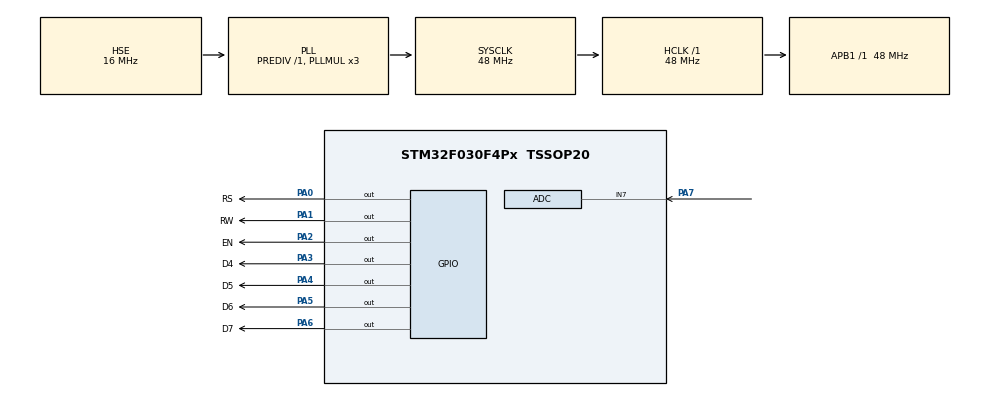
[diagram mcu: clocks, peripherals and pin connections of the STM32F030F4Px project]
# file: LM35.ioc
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ADC.Resolution=ADC_RESOLUTION_10B
ADC.SamplingTime=ADC_SAMPLETIME_55CYCLES_5
Mcu.Family=STM32F0
Mcu.Name=STM32F030F4Px
Mcu.Package=TSSOP20
PA0.GPIO_Label=RS
PA0.Signal=GPIO_Output
PA1.GPIO_Label=RW
PA1.Signal=GPIO_Output
PA2.GPIO_Label=EN
PA2.Signal=GPIO_Output
PA3.GPIO_Label=D4
PA3.Signal=GPIO_Output
PA4.GPIO_Label=D5
PA4.Signal=GPIO_Output
PA5.GPIO_Label=D6
PA5.Signal=GPIO_Output
PA6.GPIO_Label=D7
PA6.Signal=GPIO_Output
PA7.Mode=IN7
PA7.Signal=ADC_IN7
PF0-OSC_IN.Mode=HSE-External-Oscillator
PF0-OSC_IN.Signal=RCC_OSC_IN
PF1-OSC_OUT.Mode=HSE-External-Oscillator
PF1-OSC_OUT.Signal=RCC_OSC_OUT
ProjectManager.HeapSize=0x200
ProjectManager.StackSize=0x400
ProjectManager.TargetToolchain=STM32CubeIDE
RCC.AHBFreq_Value=48000000
RCC.APB1Freq_Value=48000000
RCC.APB1TimFreq_Value=48000000
RCC.HCLKFreq_Value=48000000
RCC.HSE_VALUE=16000000
RCC.PLLMUL=RCC_PLL_MUL3
RCC.PLLSourceVirtual=RCC_PLLSOURCE_HSE
RCC.SYSCLKFreq_VALUE=48000000
RCC.SYSCLKSource=RCC_SYSCLKSOURCE_PLLCLK
TIM1.Period=0xffff-1
TIM1.Prescaler=48-1
VP_TIM1_VS_ClockSourceINT.Mode=Internal
board=custom

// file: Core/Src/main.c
/* USER CODE BEGIN Header */
/**
  ******************************************************************************
  * @file           : main.c
  * @brief          : Main program body
  ******************************************************************************
  * @attention
  *
  * Copyright (c) 2024 STMicroelectronics.
  * All rights reserved.
  *
  * This software is licensed under terms that can be found in the LICENSE file
  * in the root directory of this software component.
  * If no LICENSE file comes with this software, it is provided AS-IS.
  *
  ******************************************************************************
  */
/* USER CODE END Header */
#include "main.h"

/* USER CODE BEGIN Includes */
#include "LCD1602.h"
/* USER CODE END Includes */

ADC_HandleTypeDef hadc;

TIM_HandleTypeDef htim1;

void SystemClock_Config(void);
static void MX_GPIO_Init(void);
static void MX_ADC_Init(void);
static void MX_TIM1_Init(void);

/* USER CODE BEGIN 0 */

int32_t LM35_tmp(uint32_t ADCvalue){

	int16_t voltage  = ( ADCvalue * 33000) / 1023;

	int16_t Temp = voltage / 1;

    return Temp;
}

void Print(int32_t intd) {
  char buff[8]; // Allocate space for sign (if needed) and null terminator

  // Check for negative value and add a minus sign if necessary
  if (intd < 0) {
    buff[0] = '-';
    intd *= -1;    // Convert to positive for further processing
  } else {
    buff[0] = ' '; // Add a space for positive values to maintain alignment
  }

  buff[1] = (intd / 10000) % 10 + 48; // Thousands digit
  buff[1] = (buff[1] == '0')? ' ':buff[1]; // Replace with space to hide front zero
  buff[2] = (intd / 1000) % 10 + 48; // Hundreds digit
  buff[3] = (intd / 100) % 10 + 48; // Tens digit
  buff[4] = '.';                   // Decimal point
  buff[5] = (intd / 10) % 10 + 48; // Units digit before decimal
  buff[6] = intd % 10 + 48;       // Units digit after decimal
  buff[7] = 0; // Null terminator

  LCD_String(buff); // Send the formatted string to your LCD display function

  LCD_String(" ");
}

int32_t temp;
int32_t adcvalue;
//float ftemp;
/* USER CODE END 0 */

int main(void)
{

  /* MCU Configuration--------------------------------------------------------*/

  /* Reset of all peripherals, Initializes the Flash interface and the Systick. */
  HAL_Init();

  /* Configure the system clock */
  SystemClock_Config();

  /* Initialize all configured peripherals */
  MX_GPIO_Init();
  MX_ADC_Init();
  MX_TIM1_Init();
  /* USER CODE BEGIN 2 */
  HAL_TIM_Base_Start(&htim1);  // Timer On and init this line
  lcd_init();                //LCD init

  lcd_xy(0, 4);   // set curser postion

  LCD_String("MCU Temp");  // Print String

  /* USER CODE END 2 */

  /* Infinite loop */
  while (1)
  {

    /* USER CODE BEGIN 3 */

		HAL_ADC_Start(&hadc);
	    HAL_ADC_PollForConversion(&hadc,200);
	    adcvalue = HAL_ADC_GetValue(&hadc);

	    temp =  LM35_tmp (adcvalue);
		lcd_xy(1, 4);
		Print(temp);

		lcd_xy(1, 11);
		LCD_String("\337C");  // for degree celcus
		HAL_Delay(500);
  }
  /* USER CODE END 3 */
}

void SystemClock_Config(void)
{
  RCC_OscInitTypeDef RCC_OscInitStruct = {0};
  RCC_ClkInitTypeDef RCC_ClkInitStruct = {0};

  /** Initializes the RCC Oscillators according to the specified parameters
  * in the RCC_OscInitTypeDef structure.
  */
  RCC_OscInitStruct.OscillatorType = RCC_OSCILLATORTYPE_HSI14|RCC_OSCILLATORTYPE_HSE;
  RCC_OscInitStruct.HSEState = RCC_HSE_ON;
  RCC_OscInitStruct.HSI14State = RCC_HSI14_ON;
  RCC_OscInitStruct.HSI14CalibrationValue = 16;
  RCC_OscInitStruct.PLL.PLLState = RCC_PLL_ON;
  RCC_OscInitStruct.PLL.PLLSource = RCC_PLLSOURCE_HSE;
  RCC_OscInitStruct.PLL.PLLMUL = RCC_PLL_MUL3;
  RCC_OscInitStruct.PLL.PREDIV = RCC_PREDIV_DIV1;
  if (HAL_RCC_OscConfig(&RCC_OscInitStruct) != HAL_OK)
  {
    Error_Handler();
  }

  /** Initializes the CPU, AHB and APB buses clocks
  */
  RCC_ClkInitStruct.ClockType = RCC_CLOCKTYPE_HCLK|RCC_CLOCKTYPE_SYSCLK
                              |RCC_CLOCKTYPE_PCLK1;
  RCC_ClkInitStruct.SYSCLKSource = RCC_SYSCLKSOURCE_PLLCLK;
  RCC_ClkInitStruct.AHBCLKDivider = RCC_SYSCLK_DIV1;
  RCC_ClkInitStruct.APB1CLKDivider = RCC_HCLK_DIV1;

  if (HAL_RCC_ClockConfig(&RCC_ClkInitStruct, FLASH_LATENCY_1) != HAL_OK)
  {
    Error_Handler();
  }
}

static void MX_ADC_Init(void)
{

  ADC_ChannelConfTypeDef sConfig = {0};

  /** Configure the global features of the ADC (Clock, Resolution, Data Alignment and number of conversion)
  */
  hadc.Instance = ADC1;
  hadc.Init.ClockPrescaler = ADC_CLOCK_ASYNC_DIV1;
  hadc.Init.Resolution = ADC_RESOLUTION_10B;
  hadc.Init.DataAlign = ADC_DATAALIGN_RIGHT;
  hadc.Init.ScanConvMode = ADC_SCAN_DIRECTION_FORWARD;
  hadc.Init.EOCSelection = ADC_EOC_SINGLE_CONV;
  hadc.Init.LowPowerAutoWait = DISABLE;
  hadc.Init.LowPowerAutoPowerOff = DISABLE;
  hadc.Init.ContinuousConvMode = DISABLE;
  hadc.Init.DiscontinuousConvMode = DISABLE;
  hadc.Init.ExternalTrigConv = ADC_SOFTWARE_START;
  hadc.Init.ExternalTrigConvEdge = ADC_EXTERNALTRIGCONVEDGE_NONE;
  hadc.Init.DMAContinuousRequests = DISABLE;
  hadc.Init.Overrun = ADC_OVR_DATA_PRESERVED;
  if (HAL_ADC_Init(&hadc) != HAL_OK)
  {
    Error_Handler();
  }

  /** Configure for the selected ADC regular channel to be converted.
  */
  sConfig.Channel = ADC_CHANNEL_7;
  sConfig.Rank = ADC_RANK_CHANNEL_NUMBER;
  sConfig.SamplingTime = ADC_SAMPLETIME_55CYCLES_5;
  if (HAL_ADC_ConfigChannel(&hadc, &sConfig) != HAL_OK)
  {
    Error_Handler();
  }

}

static void MX_TIM1_Init(void)
{

  TIM_ClockConfigTypeDef sClockSourceConfig = {0};
  TIM_MasterConfigTypeDef sMasterConfig = {0};

  htim1.Instance = TIM1;
  htim1.Init.Prescaler = 48-1;
  htim1.Init.CounterMode = TIM_COUNTERMODE_UP;
  htim1.Init.Period = 0xffff-1;
  htim1.Init.ClockDivision = TIM_CLOCKDIVISION_DIV1;
  htim1.Init.RepetitionCounter = 0;
  htim1.Init.AutoReloadPreload = TIM_AUTORELOAD_PRELOAD_DISABLE;
  if (HAL_TIM_Base_Init(&htim1) != HAL_OK)
  {
    Error_Handler();
  }
  sClockSourceConfig.ClockSource = TIM_CLOCKSOURCE_INTERNAL;
  if (HAL_TIM_ConfigClockSource(&htim1, &sClockSourceConfig) != HAL_OK)
  {
    Error_Handler();
  }
  sMasterConfig.MasterOutputTrigger = TIM_TRGO_RESET;
  sMasterConfig.MasterSlaveMode = TIM_MASTERSLAVEMODE_DISABLE;
  if (HAL_TIMEx_MasterConfigSynchronization(&htim1, &sMasterConfig) != HAL_OK)
  {
    Error_Handler();
  }

}

static void MX_GPIO_Init(void)
{
  GPIO_InitTypeDef GPIO_InitStruct = {0};

  /* GPIO Ports Clock Enable */
  __HAL_RCC_GPIOF_CLK_ENABLE();
  __HAL_RCC_GPIOA_CLK_ENABLE();

  /*Configure GPIO pin Output Level */
  HAL_GPIO_WritePin(GPIOA, RS_Pin|RW_Pin|EN_Pin|D4_Pin
                          |D5_Pin|D6_Pin|D7_Pin, GPIO_PIN_RESET);

  /*Configure GPIO pins : RS_Pin RW_Pin EN_Pin D4_Pin
                           D5_Pin D6_Pin D7_Pin */
  GPIO_InitStruct.Pin = RS_Pin|RW_Pin|EN_Pin|D4_Pin
                          |D5_Pin|D6_Pin|D7_Pin;
  GPIO_InitStruct.Mode = GPIO_MODE_OUTPUT_PP;
  GPIO_InitStruct.Pull = GPIO_NOPULL;
  GPIO_InitStruct.Speed = GPIO_SPEED_FREQ_LOW;
  HAL_GPIO_Init(GPIOA, &GPIO_InitStruct);

}

void Error_Handler(void)
{
  __disable_irq();
  while (1)
  {
  }
}
